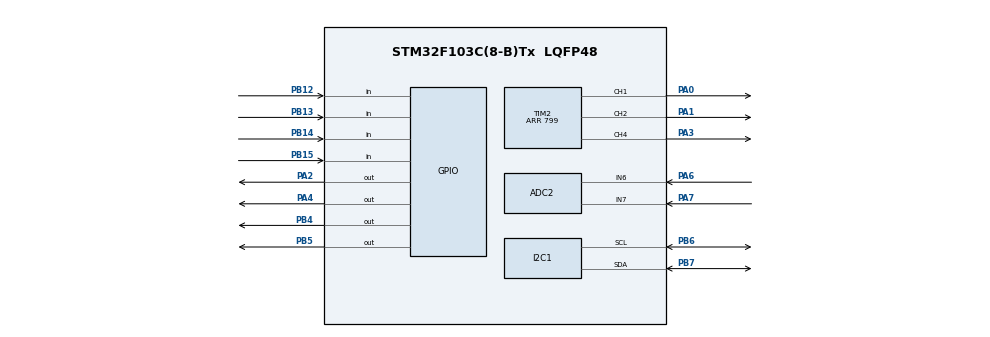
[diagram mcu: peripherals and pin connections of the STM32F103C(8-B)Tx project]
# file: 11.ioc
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ADC2.Channel-0\#ChannelRegularConversion=ADC_CHANNEL_6
ADC2.NbrOfConversionFlag=1
ADC2.Rank-0\#ChannelRegularConversion=1
ADC2.SamplingTime-0\#ChannelRegularConversion=ADC_SAMPLETIME_1CYCLE_5
Mcu.Family=STM32F1
Mcu.Name=STM32F103C(8-B)Tx
Mcu.Package=LQFP48
NVIC.PriorityGroup=NVIC_PRIORITYGROUP_4
PA0-WKUP.Signal=S_TIM2_CH1_ETR
PA1.Signal=S_TIM2_CH2
PA13.Mode=Serial_Wire
PA13.Signal=SYS_JTMS-SWDIO
PA14.Mode=Serial_Wire
PA14.Signal=SYS_JTCK-SWCLK
PA2.PinState=GPIO_PIN_SET
PA2.Signal=GPIO_Output
PA3.Signal=S_TIM2_CH4
PA4.PinState=GPIO_PIN_SET
PA4.Signal=GPIO_Output
PA6.Signal=ADCx_IN6
PA7.Signal=ADCx_IN7
PB12.Signal=GPIO_Input
PB13.Signal=GPIO_Input
PB14.Signal=GPIO_Input
PB15.Signal=GPIO_Input
PB4.Signal=GPIO_Output
PB5.Signal=GPIO_Output
PB6.Mode=I2C
PB6.Signal=I2C1_SCL
PB7.Mode=I2C
PB7.Signal=I2C1_SDA
PD0-OSC_IN.Mode=HSE-External-Oscillator
PD0-OSC_IN.Signal=RCC_OSC_IN
PD1-OSC_OUT.Mode=HSE-External-Oscillator
PD1-OSC_OUT.Signal=RCC_OSC_OUT
ProjectManager.HeapSize=0x200
ProjectManager.StackSize=0x400
ProjectManager.TargetToolchain=MDK-ARM V5.32
RCC.APB1Freq_Value=8000000
RCC.APB2Freq_Value=8000000
SH.ADCx_IN6.0=ADC2_IN6,IN6
SH.ADCx_IN7.0=ADC2_IN7,IN7
SH.S_TIM2_CH1_ETR.0=TIM2_CH1,Output Compare1 CH1
SH.S_TIM2_CH2.0=TIM2_CH2,PWM Generation2 CH2
SH.S_TIM2_CH4.0=TIM2_CH4,PWM Generation4 CH4
TIM2.AutoReloadPreload=TIM_AUTORELOAD_PRELOAD_ENABLE
TIM2.Channel-Output\ Compare1\ CH1=TIM_CHANNEL_1
TIM2.Channel-PWM\ Generation2\ CH2=TIM_CHANNEL_2
TIM2.Channel-PWM\ Generation4\ CH4=TIM_CHANNEL_4
TIM2.Period=799
board=custom

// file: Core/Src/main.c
/* USER CODE BEGIN Header */
/**
  ******************************************************************************
  * @file           : main.c
  * @brief          : Main program body
  ******************************************************************************
  * @attention
  *
  * Copyright (c) 2026 STMicroelectronics.
  * All rights reserved.
  *
  * This software is licensed under terms that can be found in the LICENSE file
  * in the root directory of this software component.
  * If no LICENSE file comes with this software, it is provided AS-IS.
  *
  ******************************************************************************
  */
/* USER CODE END Header */
#include "main.h"

ADC_HandleTypeDef hadc2;

I2C_HandleTypeDef hi2c1;

TIM_HandleTypeDef htim2;

void SystemClock_Config(void);
static void MX_GPIO_Init(void);
static void MX_ADC2_Init(void);
static void MX_I2C1_Init(void);
static void MX_TIM2_Init(void);

/* USER CODE BEGIN 0 */

/* 电机工作方向。 */
typedef enum
{
  MOTOR_STOP = 0,
  MOTOR_FORWARD,
  MOTOR_REVERSE
} MotorDirection;

/* 按键使用外部上拉，按下时读到低电平。 */
typedef struct
{
  uint16_t pin;
  GPIO_PinState stableState;
  GPIO_PinState lastRawState;
  uint32_t lastChangeTick;
} Button;

/* PB12：正转/反转切换；PB13：停止；PB14：加速；PB15：减速。 */
static Button buttonDirection = {GPIO_PIN_12, GPIO_PIN_SET, GPIO_PIN_SET, 0};
static Button buttonStop = {GPIO_PIN_13, GPIO_PIN_SET, GPIO_PIN_SET, 0};
static Button buttonSpeedUp = {GPIO_PIN_14, GPIO_PIN_SET, GPIO_PIN_SET, 0};
static Button buttonSpeedDown = {GPIO_PIN_15, GPIO_PIN_SET, GPIO_PIN_SET, 0};

static MotorDirection motorDirection = MOTOR_FORWARD; /* 上电默认正转。 */
static uint8_t motorDutyPercent = 20; /* 上电默认占空比 30%（占空比下限）。 */

#define MOTOR_DUTY_MIN       20U
#define MOTOR_DUTY_MAX       80U
#define MOTOR_DUTY_STEP      20U
#define BUTTON_DEBOUNCE_MS   20U

/* 返回当前占空比对应的定时器比较值。
 * PWM1 模式向上计数，CNT < CCR 时输出高电平，占空比 = CCR / (ARR + 1)。
 * 当前 ARR = 799（周期 800 个计数），CCR = 800 * dutyPercent / 100：
 *   30% -> 240，50% -> 400，70% -> 560，80% -> 640，均小于 800，波形正确。 */
static uint32_t Motor_GetCompareValue(uint8_t dutyPercent)
{
  uint32_t period = __HAL_TIM_GET_AUTORELOAD(&htim2);
  return ((period + 1U) * dutyPercent) / 100U;
}

/* 换向时先关断两路 PWM，再更新桥臂状态，确保两路 PWM 不会同时导通。 */
static void Motor_SetDirection(MotorDirection direction)
{
  __HAL_TIM_SET_COMPARE(&htim2, TIM_CHANNEL_2, 0U); /* PA1：左侧 HIN */
  __HAL_TIM_SET_COMPARE(&htim2, TIM_CHANNEL_4, 0U); /* PA3：右侧 HIN */
  HAL_GPIO_WritePin(GPIOA, GPIO_PIN_2, GPIO_PIN_SET); /* PA2 高：左侧 /LIN 关闭 */
  HAL_GPIO_WritePin(GPIOA, GPIO_PIN_4, GPIO_PIN_SET); /* 右侧 /LIN 关闭 */
  HAL_Delay(2U); /* 换向前短暂停顿。 */

  if (direction == MOTOR_FORWARD)
  {
    /* 正转：Q1 使用 PA1 PWM，Q4 导通；Q2、Q3 关闭。 */
    HAL_GPIO_WritePin(GPIOA, GPIO_PIN_2, GPIO_PIN_SET); /* Q2 关闭。 */
    HAL_GPIO_WritePin(GPIOA, GPIO_PIN_4, GPIO_PIN_RESET);
    __HAL_TIM_SET_COMPARE(&htim2, TIM_CHANNEL_2,
                          Motor_GetCompareValue(motorDutyPercent));
  }
  else if (direction == MOTOR_REVERSE)
  {
    /* 反转：Q3 使用 PA3 PWM，Q2 导通；Q1、Q4 关闭。 */
    HAL_GPIO_WritePin(GPIOA, GPIO_PIN_2, GPIO_PIN_RESET); /* Q2 导通。 */
    HAL_GPIO_WritePin(GPIOA, GPIO_PIN_4, GPIO_PIN_SET);
    __HAL_TIM_SET_COMPARE(&htim2, TIM_CHANNEL_4,
                          Motor_GetCompareValue(motorDutyPercent));
  }
  /* 停止时两路 PWM 为 0，PA2 和 PA4 均为高电平。 */

  motorDirection = direction;
}

/* 在当前方向更新 PWM，占空比范围限制为 20%～80%。 */
static void Motor_UpdateDuty(void)
{
  uint32_t compare = Motor_GetCompareValue(motorDutyPercent);

  if (motorDirection == MOTOR_FORWARD)
  {
    __HAL_TIM_SET_COMPARE(&htim2, TIM_CHANNEL_4, 0U);
    __HAL_TIM_SET_COMPARE(&htim2, TIM_CHANNEL_2, compare);
  }
  else if (motorDirection == MOTOR_REVERSE)
  {
    __HAL_TIM_SET_COMPARE(&htim2, TIM_CHANNEL_2, 0U);
    __HAL_TIM_SET_COMPARE(&htim2, TIM_CHANNEL_4, compare);
  }
}

/* 启动正转和反转 PWM；PA2 已由 MX_GPIO_Init 配置为 GPIO 输出。 */
static void Motor_Init(void)
{
  /* PA1=TIM2_CH2、PA3=TIM2_CH4，两路 PWM 都从 0% 占空比启动。 */
  __HAL_TIM_SET_COMPARE(&htim2, TIM_CHANNEL_2, 0U);
  __HAL_TIM_SET_COMPARE(&htim2, TIM_CHANNEL_4, 0U);

  /* 先将 PA2 置高，关闭左侧低边 Q2。 */
  HAL_GPIO_WritePin(GPIOA, GPIO_PIN_2, GPIO_PIN_SET);
  if (HAL_TIM_PWM_Start(&htim2, TIM_CHANNEL_2) != HAL_OK)
  {
    Error_Handler();
  }
  if (HAL_TIM_PWM_Start(&htim2, TIM_CHANNEL_4) != HAL_OK)
  {
    Error_Handler();
  }

  /* 上电默认正转，以当前占空比输出 PWM */
  Motor_SetDirection(MOTOR_FORWARD);
}

/* 消抖后只在按键由松开变为按下时返回一次。 */
static uint8_t Button_WasPressed(Button *button)
{
  GPIO_PinState rawState = HAL_GPIO_ReadPin(GPIOB, button->pin);
  uint32_t now = HAL_GetTick();

  if (rawState != button->lastRawState)
  {
    button->lastRawState = rawState;
    button->lastChangeTick = now;
  }

  if ((now - button->lastChangeTick) >= BUTTON_DEBOUNCE_MS &&
      rawState != button->stableState)
  {
    button->stableState = rawState;
    if (button->stableState == GPIO_PIN_RESET)
    {
      return 1U;
    }
  }

  return 0U;
}

/* USER CODE END 0 */

int main(void)
{

  /* MCU Configuration--------------------------------------------------------*/

  /* Reset of all peripherals, Initializes the Flash interface and the Systick. */
  HAL_Init();

  /* Configure the system clock */
  SystemClock_Config();

  /* Initialize all configured peripherals */
  MX_GPIO_Init();
  MX_ADC2_Init();
  MX_I2C1_Init();
  MX_TIM2_Init();
  /* USER CODE BEGIN 2 */
  Motor_Init();

  /* USER CODE END 2 */

  /* Infinite loop */
  while (1)
  {

    /* USER CODE BEGIN 3 */
    /* PB12：正转/反转切换，停止时按下则以正转启动。 */
    if (Button_WasPressed(&buttonDirection))
    {
      Motor_SetDirection((motorDirection == MOTOR_FORWARD) ?
                         MOTOR_REVERSE : MOTOR_FORWARD);
    }
    /* PB13：停止。 */
    else if (Button_WasPressed(&buttonStop))
    {
      Motor_SetDirection(MOTOR_STOP);
    }
    /* PB14：每次加 20%，最高 80% */
    else if (Button_WasPressed(&buttonSpeedUp))
    {
      if (motorDutyPercent < MOTOR_DUTY_MAX)
      {
        motorDutyPercent += MOTOR_DUTY_STEP;
        if (motorDutyPercent > MOTOR_DUTY_MAX)
        {
          motorDutyPercent = MOTOR_DUTY_MAX;
        }
        Motor_UpdateDuty();
      }
    }
    /* PB15：每次减 20%，最低 20%。 */
    else if (Button_WasPressed(&buttonSpeedDown))
    {
      if (motorDutyPercent > MOTOR_DUTY_MIN)
      {
        motorDutyPercent -= MOTOR_DUTY_STEP;
        if (motorDutyPercent < MOTOR_DUTY_MIN)
        {
          motorDutyPercent = MOTOR_DUTY_MIN;
        }
        Motor_UpdateDuty();
      }
    }

    HAL_Delay(5U); /* 按键扫描间隔。 */
  }
  /* USER CODE END 3 */
}

void SystemClock_Config(void)
{
  RCC_OscInitTypeDef RCC_OscInitStruct = {0};
  RCC_ClkInitTypeDef RCC_ClkInitStruct = {0};
  RCC_PeriphCLKInitTypeDef PeriphClkInit = {0};

  /** Initializes the RCC Oscillators according to the specified parameters
  * in the RCC_OscInitTypeDef structure.
  */
  RCC_OscInitStruct.OscillatorType = RCC_OSCILLATORTYPE_HSI;
  RCC_OscInitStruct.HSIState = RCC_HSI_ON;
  RCC_OscInitStruct.HSICalibrationValue = RCC_HSICALIBRATION_DEFAULT;
  RCC_OscInitStruct.PLL.PLLState = RCC_PLL_NONE;
  if (HAL_RCC_OscConfig(&RCC_OscInitStruct) != HAL_OK)
  {
    Error_Handler();
  }

  /** Initializes the CPU, AHB and APB buses clocks
  */
  RCC_ClkInitStruct.ClockType = RCC_CLOCKTYPE_HCLK|RCC_CLOCKTYPE_SYSCLK
                              |RCC_CLOCKTYPE_PCLK1|RCC_CLOCKTYPE_PCLK2;
  RCC_ClkInitStruct.SYSCLKSource = RCC_SYSCLKSOURCE_HSI;
  RCC_ClkInitStruct.AHBCLKDivider = RCC_SYSCLK_DIV1;
  RCC_ClkInitStruct.APB1CLKDivider = RCC_HCLK_DIV1;
  RCC_ClkInitStruct.APB2CLKDivider = RCC_HCLK_DIV1;

  if (HAL_RCC_ClockConfig(&RCC_ClkInitStruct, FLASH_LATENCY_0) != HAL_OK)
  {
    Error_Handler();
  }
  PeriphClkInit.PeriphClockSelection = RCC_PERIPHCLK_ADC;
  PeriphClkInit.AdcClockSelection = RCC_ADCPCLK2_DIV2;
  if (HAL_RCCEx_PeriphCLKConfig(&PeriphClkInit) != HAL_OK)
  {
    Error_Handler();
  }
}

static void MX_ADC2_Init(void)
{

  ADC_ChannelConfTypeDef sConfig = {0};

  /** Common config
  */
  hadc2.Instance = ADC2;
  hadc2.Init.ScanConvMode = ADC_SCAN_DISABLE;
  hadc2.Init.ContinuousConvMode = DISABLE;
  hadc2.Init.DiscontinuousConvMode = DISABLE;
  hadc2.Init.ExternalTrigConv = ADC_SOFTWARE_START;
  hadc2.Init.DataAlign = ADC_DATAALIGN_RIGHT;
  hadc2.Init.NbrOfConversion = 1;
  if (HAL_ADC_Init(&hadc2) != HAL_OK)
  {
    Error_Handler();
  }

  /** Configure Regular Channel
  */
  sConfig.Channel = ADC_CHANNEL_6;
  sConfig.Rank = ADC_REGULAR_RANK_1;
  sConfig.SamplingTime = ADC_SAMPLETIME_1CYCLE_5;
  if (HAL_ADC_ConfigChannel(&hadc2, &sConfig) != HAL_OK)
  {
    Error_Handler();
  }

}

static void MX_I2C1_Init(void)
{

  hi2c1.Instance = I2C1;
  hi2c1.Init.ClockSpeed = 100000;
  hi2c1.Init.DutyCycle = I2C_DUTYCYCLE_2;
  hi2c1.Init.OwnAddress1 = 0;
  hi2c1.Init.AddressingMode = I2C_ADDRESSINGMODE_7BIT;
  hi2c1.Init.DualAddressMode = I2C_DUALADDRESS_DISABLE;
  hi2c1.Init.OwnAddress2 = 0;
  hi2c1.Init.GeneralCallMode = I2C_GENERALCALL_DISABLE;
  hi2c1.Init.NoStretchMode = I2C_NOSTRETCH_DISABLE;
  if (HAL_I2C_Init(&hi2c1) != HAL_OK)
  {
    Error_Handler();
  }

}

static void MX_TIM2_Init(void)
{

  TIM_MasterConfigTypeDef sMasterConfig = {0};
  TIM_OC_InitTypeDef sConfigOC = {0};

  htim2.Instance = TIM2;
  htim2.Init.Prescaler = 0;
  htim2.Init.CounterMode = TIM_COUNTERMODE_UP;
  htim2.Init.Period = 799;
  htim2.Init.ClockDivision = TIM_CLOCKDIVISION_DIV1;
  htim2.Init.AutoReloadPreload = TIM_AUTORELOAD_PRELOAD_ENABLE;
  if (HAL_TIM_OC_Init(&htim2) != HAL_OK)
  {
    Error_Handler();
  }
  if (HAL_TIM_PWM_Init(&htim2) != HAL_OK)
  {
    Error_Handler();
  }
  sMasterConfig.MasterOutputTrigger = TIM_TRGO_RESET;
  sMasterConfig.MasterSlaveMode = TIM_MASTERSLAVEMODE_DISABLE;
  if (HAL_TIMEx_MasterConfigSynchronization(&htim2, &sMasterConfig) != HAL_OK)
  {
    Error_Handler();
  }
  sConfigOC.OCMode = TIM_OCMODE_TIMING;
  sConfigOC.Pulse = 0;
  sConfigOC.OCPolarity = TIM_OCPOLARITY_HIGH;
  sConfigOC.OCFastMode = TIM_OCFAST_DISABLE;
  if (HAL_TIM_OC_ConfigChannel(&htim2, &sConfigOC, TIM_CHANNEL_1) != HAL_OK)
  {
    Error_Handler();
  }
  sConfigOC.OCMode = TIM_OCMODE_PWM1;
  if (HAL_TIM_PWM_ConfigChannel(&htim2, &sConfigOC, TIM_CHANNEL_2) != HAL_OK)
  {
    Error_Handler();
  }
  if (HAL_TIM_PWM_ConfigChannel(&htim2, &sConfigOC, TIM_CHANNEL_4) != HAL_OK)
  {
    Error_Handler();
  }
  HAL_TIM_MspPostInit(&htim2);

}

static void MX_GPIO_Init(void)
{
  GPIO_InitTypeDef GPIO_InitStruct = {0};

  /* GPIO Ports Clock Enable */
  __HAL_RCC_GPIOD_CLK_ENABLE();
  __HAL_RCC_GPIOA_CLK_ENABLE();
  __HAL_RCC_GPIOB_CLK_ENABLE();

  /*Configure GPIO pin Output Level */
  HAL_GPIO_WritePin(GPIOA, GPIO_PIN_2|GPIO_PIN_4, GPIO_PIN_SET);

  /*Configure GPIO pin Output Level */
  HAL_GPIO_WritePin(GPIOB, GPIO_PIN_4|GPIO_PIN_5, GPIO_PIN_RESET);

  /*Configure GPIO pins : PA2 PA4 */
  GPIO_InitStruct.Pin = GPIO_PIN_2|GPIO_PIN_4;
  GPIO_InitStruct.Mode = GPIO_MODE_OUTPUT_PP;
  GPIO_InitStruct.Pull = GPIO_NOPULL;
  GPIO_InitStruct.Speed = GPIO_SPEED_FREQ_LOW;
  HAL_GPIO_Init(GPIOA, &GPIO_InitStruct);

  /*Configure GPIO pins : PB12 PB13 PB14 PB15 */
  GPIO_InitStruct.Pin = GPIO_PIN_12|GPIO_PIN_13|GPIO_PIN_14|GPIO_PIN_15;
  GPIO_InitStruct.Mode = GPIO_MODE_INPUT;
  GPIO_InitStruct.Pull = GPIO_NOPULL;
  HAL_GPIO_Init(GPIOB, &GPIO_InitStruct);

  /*Configure GPIO pins : PB4 PB5 */
  GPIO_InitStruct.Pin = GPIO_PIN_4|GPIO_PIN_5;
  GPIO_InitStruct.Mode = GPIO_MODE_OUTPUT_PP;
  GPIO_InitStruct.Pull = GPIO_NOPULL;
  GPIO_InitStruct.Speed = GPIO_SPEED_FREQ_LOW;
  HAL_GPIO_Init(GPIOB, &GPIO_InitStruct);

}

void Error_Handler(void)
{
  __disable_irq();
  while (1)
  {
  }
}
